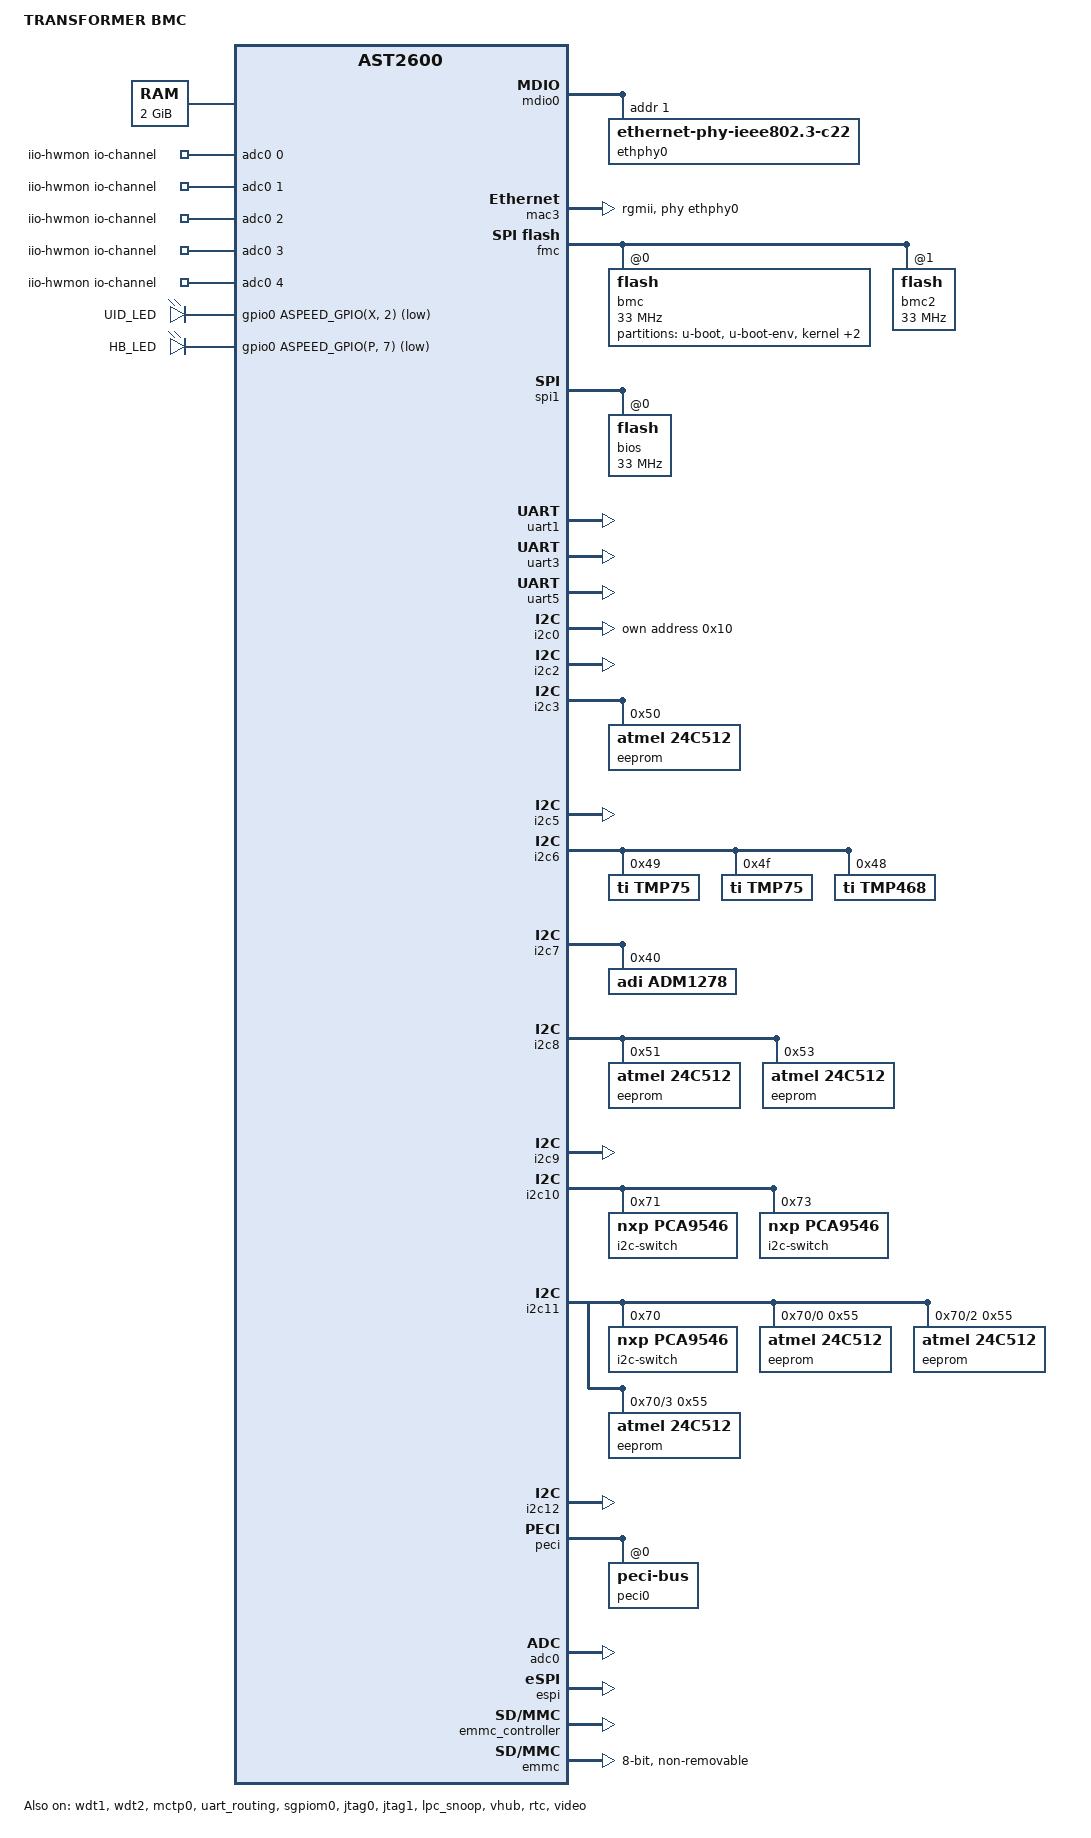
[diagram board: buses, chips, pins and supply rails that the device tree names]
// SPDX-License-Identifier: GPL-2.0-or-later
// Copyright 2019 IBM Corp.

/dts-v1/;

#include "aspeed-g6.dtsi"
#include "aspeed-g6-pinctrl.dtsi"
#include <dt-bindings/i2c/i2c.h>
#include <dt-bindings/gpio/aspeed-gpio.h>

/ {
        model = "TRANSFORMER BMC";
        compatible = "inventec,transformer-bmc", "aspeed,ast2600";

        aliases {
                serial4 = &uart5;
                mctp0 = &mctp0;
        };

        chosen {
                stdout-path = &uart5;
                bootargs = "console=tty0 console=ttyS4,115200n8 root=/dev/ram rw init=/linuxrc";
        };

        memory@80000000 {
                device_type = "memory";
                reg = <0x80000000 0x80000000>;
        };

        reserved-memory {
                #address-cells = <1>;
                #size-cells = <1>;
                ranges;

                gfx_memory: framebuffer {
                        size = <0x01000000>;
                        alignment = <0x01000000>;
                        compatible = "shared-dma-pool";
                        reusable;
                };

                video_engine_memory: jpegbuffer {
                        size = <0x04000000>; /*64MB*/
                        alignment = <0x01000000>;
                        compatible = "shared-dma-pool";
                        reusable;
                };

                ssp_memory: ssp_memory {
                        size = <0x00200000>;
                        alignment = <0x00100000>;
                        compatible = "shared-dma-pool";
                        no-map;
                };
#if 0
                espi_peripheral_memory: espi_peripheral_memory {
                        no-map;
                        reg = <0x98000000 0x04000000>; /* 64M */
                        size = <0x01000000>;
                        alignment = <0x01000000>;
                        compatible = "shared-dma-pool";
                        reusable;
                };
#endif
        };
        
        vga-shared-memory {
                compatible = "aspeed,ast2500-vga-sharedmem";
                reg = <0xbff00000 0x10000>;
        };

        iio-hwmon {
                compatible = "iio-hwmon";
                io-channels = <&adc0 0>, <&adc0 1>, <&adc0 2>, <&adc0 3>,
                <&adc0 4>;
        };

        leds {
                compatible = "gpio-leds";

                // UID led
                uid {
                        label = "UID_LED";
                        gpios = <&gpio0 ASPEED_GPIO(X, 2) GPIO_ACTIVE_LOW>;
                };

                // Heart beat led
                heartbeat {
                        label = "HB_LED";
                        gpios = <&gpio0 ASPEED_GPIO(P, 7) GPIO_ACTIVE_LOW>;
                };
        };

        ahb {
                cvic: copro-interrupt-controller@1e6c0000 {
                        compatible = "aspeed,ast2600-cvic", "aspeed-cvic";
                        valid-sources = <0xffffffff>;
                        copro-sw-interrupts = <1>;
                        reg = <0x1e6c0000 0x80>;
                };

                sram: sram@10000000 {
                        compatible = "mmio-sram";
                        /* the first 64K is with parity check */
                        reg = <0x10000000 0x16000>;
                };
        };
};

&mdio0 {
        status = "okay";

        ethphy0: ethernet-phy@0 {
                compatible = "ethernet-phy-ieee802.3-c22";
                reg = <1>;
        };
};

&mac3 {
        status = "okay";

        phy-mode = "rgmii";
        phy-handle = <&ethphy0>;

        pinctrl-names = "default";
        pinctrl-0 = <&pinctrl_rgmii4_default>;
};

&fmc {
        status = "okay";
        flash@0 {
                status = "okay";
                m25p,fast-read;
                label = "bmc";
                spi-max-frequency = <33000000>;
                spi-tx-bus-width = <2>;
                spi-rx-bus-width = <2>;
                partitions {
                        compatible = "fixed-partitions";
                        #address-cells = <0x1>;
                        #size-cells = <0x1>;

                        u-boot@0 {
                                reg = <0x0 0xe0000>;
                                label = "u-boot";
                        };

                        u-boot-env@e0000 {
                                reg = <0xe0000 0x20000>;
                                label = "u-boot-env";
                        };

                        kernel@100000 {
                                reg = <0x100000 0x900000>;
                                label = "kernel";
                        };

                        rofs@a00000 {
                                reg = <0xa00000 0x2000000>;
                                label = "rofs";
                        };

                        rwfs@2a00000 {
                                reg = <0x2a00000 0x1600000>;
                                label = "rwfs";
                        };
                };
        };

        flash@1 {
                status = "okay";
                m25p,fast-read;
                label = "bmc2";
                spi-max-frequency = <33000000>;
                spi-tx-bus-width = <2>;
                spi-rx-bus-width = <2>;
        };
};

&spi1 {
        status = "okay";
        pinctrl-names = "default";
        pinctrl-0 = <&pinctrl_spi1_default>;
        flash@0 {
                status = "okay";
                m25p,fast-read;
                label = "bios";
                spi-max-frequency = <33000000>;
                spi-tx-bus-width = <1>;
                spi-rx-bus-width = <1>;
        };
};

&wdt1 {
        status = "okay";
};

&wdt2 {
        status = "okay";
};

&uart1 {
        status = "okay";
};

&uart3 {
        status = "okay";
};

&uart5 {
        status = "okay";
};

&mctp0 {
    tx-payload-bytes= <64>;
    rx-payload-bytes= <64>;
    status = "okay";
};

&uart_routing {
	status = "okay";
};

&i2c0 {
        status = "okay";

        //Set bmc' slave address;
        bmc_slave@10 {
                compatible = "ipmb-dev";
                reg = <(0x10 | I2C_OWN_SLAVE_ADDRESS)>;
                i2c-protocol;
        };
};

&i2c2 {
        status = "okay";
};

&i2c3 {
        // FRU AT24C512C-SSHM-T
        status = "okay";
        eeprom@50 {
                compatible = "atmel,24c512";
                reg = <0x50>;
                pagesize = <128>;
        };
};

&i2c5 {
        status = "okay";
};

&i2c6 {
        status = "okay";
        tmp75@49 {
                compatible = "ti,tmp75";
                reg = <0x49>;
        };

        tmp75@4f {
                compatible = "ti,tmp75";
                reg = <0x4f>;
        };

        tmp468@48 {
                compatible = "ti,tmp468";
                reg = <0x48>;
        };
};

&i2c7 {
        status = "okay";
        adm1278@40 {
                compatible = "adi,adm1278";
                reg = <0x40>;
        };
};


&i2c8 {
        // FRU AT24C512C-SSHM-T
        status = "okay";
        eeprom@51 {
                compatible = "atmel,24c512";
                reg = <0x51>;
                pagesize = <128>;
        };

        eeprom@53 {
                compatible = "atmel,24c512";
                reg = <0x53>;
                pagesize = <128>;
        };
};

&i2c9 {
        // M.2
        status = "okay";
};

&i2c10 {
        // I2C EXPANDER
        status = "okay";
        i2c-switch@71 {
                compatible = "nxp,pca9546";
                #address-cells = <1>;
                #size-cells = <0>;
                reg = <0x71>;
        };

        i2c-switch@73 {
                compatible = "nxp,pca9546";
                #address-cells = <1>;
                #size-cells = <0>;
                reg = <0x73>;
        };
};

&i2c11 {
        // I2C EXPANDER
        status = "okay";
        i2c-switch@70 {
                compatible = "nxp,pca9546";
                #address-cells = <1>;
                #size-cells = <0>;
                reg = <0x70>;

                pcie_eeprom_riser1: i2c@0 {
                        #address-cells = <1>;
                        #size-cells = <0>;
                        reg = <0>;

                        eeprom@55 {
                                compatible = "atmel,24c512";
                                reg = <0x55>;
                                pagesize = <128>;
                        };
                };
                pcie_eeprom_riser2: i2c@2 {
                        #address-cells = <1>;
                        #size-cells = <0>;
                        reg = <2>;

                        eeprom@55 {
                                compatible = "atmel,24c512";
                                reg = <0x55>;
                                pagesize = <128>;
                        };
                };

                pcie_eeprom_riser3: i2c@3 {
                        #address-cells = <1>;
                        #size-cells = <0>;
                        reg = <3>;

                        eeprom@55 {
                                compatible = "atmel,24c512";
                                reg = <0x55>;
                                pagesize = <128>;
                        };
                };
        };
};

&i2c12 {
        status = "okay";
};

&gpio0 {
        status = "okay";
        gpio-line-names =
        /*A0-A7*/   "","","","","","","","",
        /*B0-B7*/   "I2C_HSC_ALERT","BMC_READY","","","","","PSU1_ALERT","",
        /*C0-C7*/   "","","","","","","","",
        /*D0-D7*/   "","","","","","","","",
        /*E0-E7*/   "","","","","","","","",
        /*F0-F7*/   "","","","","RST_BMC_SGPIO","","","",
        /*G0-G7*/   "","","JTAG_MUX_SEL","","","","","",
        /*H0-H7*/   "","","","","RESET_OUT","POWER_OUT","","",
        /*I0-I7*/   "","","","","","","NMI_OUT","",
        /*J0-J7*/   "","","","","","","","",
        /*K0-K7*/   "","","","","","","","",
        /*L0-L7*/   "","","","","","","","",
        /*M0-M7*/   "","","","","","","","",
        /*N0-N7*/   "PCH_SMI_ACTIVE_N","","","","","","","",
        /*O0-O7*/   "","","","","","","","",
        /*P0-P7*/   "","","","TCK_MUX_SEL","BMC_ASD_JTAG_EN","","PREQ_N","",
        /*Q0-Q7*/   "","","","","","","","",
        /*R0-R7*/   "","","","","","","","",
        /*S0-S7*/   "","","","","","","PCH_THERMTRIP","",
        /*T0-T7*/   "","","","","","","","",
        /*U0-U7*/   "","NMI_BUTTON","","","","","","",
        /*V0-V7*/   "","","","","PS_PWROK","","","PRDY_N",
        /*W0-W7*/   "","","","","","","","",
        /*X0-X7*/   "","","","CPLD_CATERR","","","","",
        /*Y0-Y7*/   "","","","","","","","",
        /*Z0-Z7*/   "","","","","","","","",
        /*AA0-AA7*/ "","","","","","","","",
        /*AB0-AB7*/ "","","","","","","","",
        /*AC0-AC7*/ "","","","","","","","";
};

&sgpiom0 {
        status = "okay";
        max-ngpios = <40>;
        ngpios = <40>;
        bus-frequency = <1000000>;
        gpio-line-names =
        /*in - out - in - out */
        /*A0-A7*/ "CPU1_MEMTRIP_N","","CPU_ERROR0_N","","CPU_ERROR1_N","","CPU_ERROR2_N","",
        /*A0-A7*/ "MIPI_PRSNT_BMC","","PCH_HOT_N","","","","BIOS_POST_CMPLT_N","",
        /*B0-B7*/ "PROC1MEM_VRHOT_N","","PROC0_MEMHOT_OUT_N","","PROC1_MEMHOT_OUT_N","","CPU0_PROCHOT_N","",
        /*B0-B7*/ "CPU1_PROCHOT_N","","CPU0_THERMTRIP_N","","CPU1_THERMTRIP_N","","CPU0_MEMTRIP_N","",
        /*C0-C7*/ "CPU_PWR_FAIL","","DIMM_MODULE_POWER_FAIL","","","","PCH_PWR_FAIL","",
        /*C0-C7*/ "","","PROC0_VRHOT_N","","PROC1_VRHOT_N","","PROC0MEM_VRHOT_N","",
        /*D0-D7*/ "","","","","NMI_SW","","INTRUDER","",
        /*D0-D7*/ "","","","","","","MEM_CONTROLLER_PWR_FAIL","",
        /*E0-E7*/ "","","","","","","","",
        /*E0-E7*/ "","","","","","","","";
};

&peci{
        peci0: peci-bus@0{
                status = "okay";

                peci-client@30 {
                        compatible = "peci";
                        reg = <0x30>;
                };

                peci-client@31 {
                        compatible = "peci";
                        reg = <0x31>;
                };
        };
};

&jtag0 {
        status = "okay";
};

&jtag1 {
        status = "okay";
};

&adc0 {
        ref_voltage = <2500>;
        status = "okay";

        pinctrl-0 = <&pinctrl_adc0_default &pinctrl_adc1_default
                &pinctrl_adc2_default &pinctrl_adc3_default
                &pinctrl_adc4_default>;
};

&espi {
        status = "okay";
};

&lpc_snoop {
        status = "okay";
        snoop-ports = <0x80>;
};

&emmc_controller {
        status = "okay";
        timing-phase = <0x700FF>;
};

&emmc {
        status = "okay";

        non-removable;
        max-frequency = <52000000>;
        sdhci-drive-type = /bits/ 8 <3>;
#if 0
        bus-width = <4>;
#else
        bus-width = <8>;
        pinctrl-0 = <&pinctrl_emmc_default
                        &pinctrl_emmcg8_default>;
#endif
};

&vhub {
        status = "okay";
        aspeed,vhub-downstream-ports = <7>;
        aspeed,vhub-generic-endpoints = <21>;
        pinctrl-names = "default";
        pinctrl-0 = <&pinctrl_usb2ad_default>;
};

&rtc {
        status = "okay";
};

&video {
        status = "okay";
        memory-region = <&video_engine_memory>;
};
